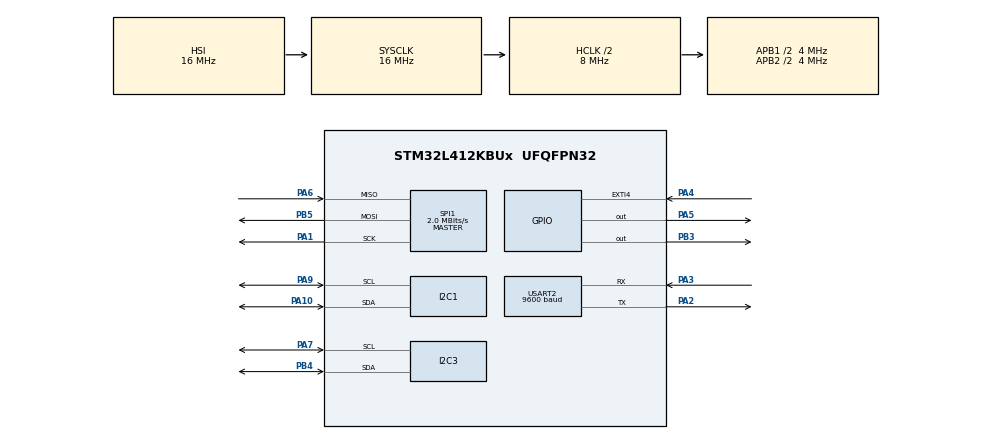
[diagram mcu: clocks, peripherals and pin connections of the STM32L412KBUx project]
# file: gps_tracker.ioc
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Dma.Request0=USART2_RX
Dma.Request1=USART2_TX
Dma.USART2_RX.0.Direction=DMA_PERIPH_TO_MEMORY
Dma.USART2_RX.0.Instance=DMA1_Channel6
Dma.USART2_RX.0.MemDataAlignment=DMA_MDATAALIGN_BYTE
Dma.USART2_RX.0.MemInc=DMA_MINC_ENABLE
Dma.USART2_RX.0.Mode=DMA_NORMAL
Dma.USART2_RX.0.PeriphDataAlignment=DMA_PDATAALIGN_BYTE
Dma.USART2_RX.0.PeriphInc=DMA_PINC_DISABLE
Dma.USART2_RX.0.Priority=DMA_PRIORITY_LOW
Dma.USART2_TX.1.Direction=DMA_MEMORY_TO_PERIPH
Dma.USART2_TX.1.Instance=DMA1_Channel7
Dma.USART2_TX.1.MemDataAlignment=DMA_MDATAALIGN_BYTE
Dma.USART2_TX.1.MemInc=DMA_MINC_ENABLE
Dma.USART2_TX.1.Mode=DMA_NORMAL
Dma.USART2_TX.1.PeriphDataAlignment=DMA_PDATAALIGN_BYTE
Dma.USART2_TX.1.PeriphInc=DMA_PINC_DISABLE
Dma.USART2_TX.1.Priority=DMA_PRIORITY_LOW
FATFS._MAX_SS=4096
FATFS._USE_LFN=1
Mcu.Family=STM32L4
Mcu.Name=STM32L412KBUx
Mcu.Package=UFQFPN32
NVIC.DMA1_Channel6_IRQn=true\:0\:0\:false\:false\:true\:false\:true\:true
NVIC.DMA1_Channel7_IRQn=true\:0\:0\:false\:false\:true\:false\:true\:true
NVIC.EXTI4_IRQn=true\:0\:0\:false\:false\:true\:true\:true\:true
NVIC.PriorityGroup=NVIC_PRIORITYGROUP_4
NVIC.TIM6_IRQn=true\:0\:0\:false\:false\:true\:true\:true\:true
NVIC.USART2_IRQn=true\:0\:0\:false\:false\:true\:true\:true\:true
PA1.Mode=Full_Duplex_Master
PA1.Signal=SPI1_SCK
PA10.Mode=I2C
PA10.Signal=I2C1_SDA
PA2.Mode=Asynchronous
PA2.Signal=USART2_TX
PA3.Mode=Asynchronous
PA3.Signal=USART2_RX
PA4.Signal=GPXTI4
PA5.Signal=GPIO_Output
PA6.Mode=Full_Duplex_Master
PA6.Signal=SPI1_MISO
PA7.Mode=I2C
PA7.Signal=I2C3_SCL
PA9.Mode=I2C
PA9.Signal=I2C1_SCL
PB3\ (JTDO/TRACESWO).Signal=GPIO_Output
PB4\ (NJTRST).Mode=I2C
PB4\ (NJTRST).Signal=I2C3_SDA
PB5.Mode=Full_Duplex_Master
PB5.Signal=SPI1_MOSI
ProjectManager.HeapSize=0x200
ProjectManager.StackSize=0x400
ProjectManager.TargetToolchain=STM32CubeIDE
RCC.ADCFreq_Value=16000000
RCC.AHBCLKDivider=RCC_SYSCLK_DIV2
RCC.AHBFreq_Value=8000000
RCC.APB1CLKDivider=RCC_HCLK_DIV2
RCC.APB1Freq_Value=4000000
RCC.APB1TimFreq_Value=8000000
RCC.APB2CLKDivider=RCC_HCLK_DIV2
RCC.APB2Freq_Value=4000000
RCC.APB2TimFreq_Value=8000000
RCC.CortexFreq_Value=8000000
RCC.HCLKFreq_Value=8000000
RCC.HSE_VALUE=8000000
RCC.HSI48_VALUE=48000000
RCC.HSI_VALUE=16000000
RCC.LSE_VALUE=32768
RCC.MSIAutoCalibration=DISABLED
RCC.MSIClockRange=RCC_MSIRANGE_10
RCC.MSI_VALUE=32000000
RCC.SYSCLKFreq_VALUE=16000000
RCC.SYSCLKSource=RCC_SYSCLKSOURCE_HSI
RCC.USBFreq_Value=32000000
RCC.VCOOutputFreq_Value=256000000
SPI1.CalculateBaudRate=2.0 MBits/s
SPI1.DataSize=SPI_DATASIZE_8BIT
SPI1.Direction=SPI_DIRECTION_2LINES
SPI1.Mode=SPI_MODE_MASTER
SPI1.VirtualType=VM_MASTER
TIM6.AutoReloadPreload=TIM_AUTORELOAD_PRELOAD_ENABLE
TIM6.Period=999
TIM6.Prescaler=799
USART2.BaudRate=9600
USART2.VirtualMode-Asynchronous=VM_ASYNC
VP_FATFS_VS_Generic.Mode=User_defined
VP_TIM6_VS_ClockSourceINT.Mode=Enable_Timer
board=NUCLEO-L412KB

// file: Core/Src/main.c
/* USER CODE BEGIN Header */
/**
  ******************************************************************************
  * @file           : main.c
  * @brief          : Main program body
  ******************************************************************************
  * @attention
  *
  * Copyright (c) 2023 STMicroelectronics.
  * All rights reserved.
  *
  * This software is licensed under terms that can be found in the LICENSE file
  * in the root directory of this software component.
  * If no LICENSE file comes with this software, it is provided AS-IS.
  *
  ******************************************************************************
  */
/* USER CODE END Header */
#include "main.h"
#include "fatfs.h"

/* USER CODE BEGIN Includes */
#include "neo7m_gps.h"
#include "hmc5883l.h"
#include <cJSON.h>
#include <mpu6050.h>
/* USER CODE END Includes */

/* USER CODE BEGIN PD */
#define NAME_SIZE 9
/* USER CODE END PD */

I2C_HandleTypeDef hi2c1;
I2C_HandleTypeDef hi2c3;

SPI_HandleTypeDef hspi1;

TIM_HandleTypeDef htim6;

UART_HandleTypeDef huart2;
DMA_HandleTypeDef hdma_usart2_rx;
DMA_HandleTypeDef hdma_usart2_tx;

/* USER CODE BEGIN PV */
FATFS fs;
FIL gps_file;
FIL imu_file;
FRESULT fres=FR_NOT_READY;
MPU6050_t mpu;
HMC5883L_t hmc;
uint8_t file_name_gps[NAME_SIZE];
uint8_t file_name_imu[NAME_SIZE];
uint8_t file_name_index=0u;
volatile uint8_t session_end=0u;
volatile uint8_t time_elapsed=0u;
volatile uint8_t time_counter=0u;
uint8_t imu_sampling_rate;
/* USER CODE END PV */

void SystemClock_Config(void);
static void MX_GPIO_Init(void);
static void MX_DMA_Init(void);
static void MX_SPI1_Init(void);
static void MX_I2C1_Init(void);
static void MX_USART2_UART_Init(void);
static void MX_I2C3_Init(void);
static void MX_TIM6_Init(void);

/* USER CODE BEGIN 0 */
void HAL_GPIO_EXTI_Callback(uint16_t GPIO_Pin)
{
	session_end=1;
}

/*
 * 10Hz
 * 10Hz/imu_sampling_rate = mpu and hmc sampling frequency
 */
void HAL_TIM_PeriodElapsedCallback(TIM_HandleTypeDef *htim)
{
	time_counter++;
	if(time_counter==imu_sampling_rate)
	{
		time_elapsed=1;
		time_counter=0;
	}
}

char* Convert_to_JSON()
{
	cJSON *json = cJSON_CreateObject();
	cJSON *measurement=cJSON_CreateObject();
	cJSON_AddItemToObject(json, "measurement", measurement);
	cJSON_AddNumberToObject(measurement, "gyro_x", mpu.rawData.gx);
	cJSON_AddNumberToObject(measurement, "gyro_y", mpu.rawData.gy);
	cJSON_AddNumberToObject(measurement, "gyro_z", mpu.rawData.gz);
	cJSON_AddNumberToObject(measurement, "acc_x", mpu.rawData.ax);
	cJSON_AddNumberToObject(measurement, "acc_y", mpu.rawData.ay);
	cJSON_AddNumberToObject(measurement, "acc_z", mpu.rawData.az);
	cJSON_AddNumberToObject(measurement, "mag_x", hmc.x_data);
	cJSON_AddNumberToObject(measurement, "mag_y", hmc.y_data);
	cJSON_AddNumberToObject(measurement, "mag_z", hmc.z_data);
	char *json_str=cJSON_Print(json);
	cJSON_Delete(json);
	return json_str;
}

char* JSON_Header()
{
	cJSON *json = cJSON_CreateObject();
	cJSON *config=cJSON_CreateObject();
	cJSON_AddItemToObject(json, "config", config);
	cJSON_AddNumberToObject(config, "gyro_range", mpu.config.gMaxRange);
	cJSON_AddNumberToObject(config, "acc_range", mpu.config.aMaxRange);
	cJSON_AddNumberToObject(config, "sample_rate", imu_sampling_rate);
	char *json_str=cJSON_Print(json);
	cJSON_Delete(json);
	return json_str;
}

//find available file name, if failed or last two available: LED on
FRESULT Find_file_name()
{
   if(file_name_index>7)
   {
	  HAL_GPIO_WritePin(GPIOB, GPIO_PIN_3, SET);
   }
   file_name_index++;
   if(file_name_index<10)
   {
	   snprintf(file_name_gps, NAME_SIZE, "gps%d.txt", file_name_index);
	   snprintf(file_name_imu, NAME_SIZE, "imu%d.txt", file_name_index);
	   f_mount(&fs, "", 0);
	   fres=f_open(&gps_file, file_name_gps, FA_CREATE_NEW | FA_WRITE);
	   if(fres!=FR_OK) return fres;
	   fres=f_open(&imu_file, file_name_imu, FA_CREATE_NEW | FA_WRITE);
	   if(fres!=FR_OK) return fres;
   }
  return fres;
}

/* USER CODE END 0 */

int main(void)
{

  /* MCU Configuration--------------------------------------------------------*/

  /* Reset of all peripherals, Initializes the Flash interface and the Systick. */
  HAL_Init();

  /* Configure the system clock */
  SystemClock_Config();

  /* Initialize all configured peripherals */
  MX_GPIO_Init();
  MX_DMA_Init();
  MX_SPI1_Init();
  MX_FATFS_Init();
  MX_I2C1_Init();
  MX_USART2_UART_Init();
  MX_I2C3_Init();
  MX_TIM6_Init();
  /* USER CODE BEGIN 2 */
  mpu.config.aRange=AFSR_4G; //500dps
  mpu.config.gRange=GFSR_500DPS; //max 4G
  hmc.mode=HMC_MODE_SINGLE;
  hmc.gain=HMC_GAIN_1090; //sensitivity, 0.92 mG/LSb
  imu_sampling_rate=5; //100ms*imu_sampling_rate=time between samples-->2

  HMC5883L_Init(&hi2c3, &hmc);
  MPU6050_Init(&hi2c1, &mpu);
  GPS_Init(&huart2, MEASUREMENT_RATE_100MS, DISABLE_MESSAGES);

  while(fres!=FR_OK)
  {
	  fres=Find_file_name();
  }
  char* json_str=JSON_Header();
  f_puts(json_str, &imu_file);
  cJSON_free(json_str);

  MPU6050_GetRawData(&hi2c1, &mpu);
  HMC5883L_ReadData(&hi2c3, &hmc);
  GPS_Receive(&huart2, &gps.gps_data,1);
  HAL_TIM_Base_Start_IT(&htim6);
  /* USER CODE END 2 */

  /* Infinite loop */
  /* USER CODE BEGIN WHILE */
  while (1)
  {
	  if(gps.rx_cplt)
	  {
		  f_putc(gps.gps_data, &gps_file);
		  gps.rx_cplt=0u;
		  GPS_Receive(&huart2, &gps.gps_data,1);
	  }
	  if(time_elapsed)
	  {
		  char *json_str=Convert_to_JSON();
		  f_puts(json_str, &imu_file);
		  cJSON_free(json_str);
		  MPU6050_GetRawData(&hi2c1, &mpu);
		  HMC5883L_ReadData(&hi2c3, &hmc);
		  time_elapsed=0;
	  }
	  if(session_end)
	  {
		  f_close(&gps_file);
		  f_close(&imu_file);
		  f_mount(NULL, "", 0);
		  fres=FR_NOT_READY;
		  session_end=0;
	  }
    /* USER CODE END WHILE */

  }
}

void SystemClock_Config(void)
{
  RCC_OscInitTypeDef RCC_OscInitStruct = {0};
  RCC_ClkInitTypeDef RCC_ClkInitStruct = {0};

  /** Configure the main internal regulator output voltage
  */
  if (HAL_PWREx_ControlVoltageScaling(PWR_REGULATOR_VOLTAGE_SCALE1) != HAL_OK)
  {
    Error_Handler();
  }

  /** Initializes the RCC Oscillators according to the specified parameters
  * in the RCC_OscInitTypeDef structure.
  */
  RCC_OscInitStruct.OscillatorType = RCC_OSCILLATORTYPE_HSI;
  RCC_OscInitStruct.HSIState = RCC_HSI_ON;
  RCC_OscInitStruct.HSICalibrationValue = RCC_HSICALIBRATION_DEFAULT;
  RCC_OscInitStruct.PLL.PLLState = RCC_PLL_NONE;
  if (HAL_RCC_OscConfig(&RCC_OscInitStruct) != HAL_OK)
  {
    Error_Handler();
  }

  /** Initializes the CPU, AHB and APB buses clocks
  */
  RCC_ClkInitStruct.ClockType = RCC_CLOCKTYPE_HCLK|RCC_CLOCKTYPE_SYSCLK
                              |RCC_CLOCKTYPE_PCLK1|RCC_CLOCKTYPE_PCLK2;
  RCC_ClkInitStruct.SYSCLKSource = RCC_SYSCLKSOURCE_HSI;
  RCC_ClkInitStruct.AHBCLKDivider = RCC_SYSCLK_DIV2;
  RCC_ClkInitStruct.APB1CLKDivider = RCC_HCLK_DIV2;
  RCC_ClkInitStruct.APB2CLKDivider = RCC_HCLK_DIV2;

  if (HAL_RCC_ClockConfig(&RCC_ClkInitStruct, FLASH_LATENCY_0) != HAL_OK)
  {
    Error_Handler();
  }
}

static void MX_I2C1_Init(void)
{

  hi2c1.Instance = I2C1;
  hi2c1.Init.Timing = 0x00000E14;
  hi2c1.Init.OwnAddress1 = 0;
  hi2c1.Init.AddressingMode = I2C_ADDRESSINGMODE_7BIT;
  hi2c1.Init.DualAddressMode = I2C_DUALADDRESS_DISABLE;
  hi2c1.Init.OwnAddress2 = 0;
  hi2c1.Init.OwnAddress2Masks = I2C_OA2_NOMASK;
  hi2c1.Init.GeneralCallMode = I2C_GENERALCALL_DISABLE;
  hi2c1.Init.NoStretchMode = I2C_NOSTRETCH_DISABLE;
  if (HAL_I2C_Init(&hi2c1) != HAL_OK)
  {
    Error_Handler();
  }

  /** Configure Analogue filter
  */
  if (HAL_I2CEx_ConfigAnalogFilter(&hi2c1, I2C_ANALOGFILTER_ENABLE) != HAL_OK)
  {
    Error_Handler();
  }

  /** Configure Digital filter
  */
  if (HAL_I2CEx_ConfigDigitalFilter(&hi2c1, 0) != HAL_OK)
  {
    Error_Handler();
  }

}

static void MX_I2C3_Init(void)
{

  hi2c3.Instance = I2C3;
  hi2c3.Init.Timing = 0x00000E14;
  hi2c3.Init.OwnAddress1 = 0;
  hi2c3.Init.AddressingMode = I2C_ADDRESSINGMODE_7BIT;
  hi2c3.Init.DualAddressMode = I2C_DUALADDRESS_DISABLE;
  hi2c3.Init.OwnAddress2 = 0;
  hi2c3.Init.OwnAddress2Masks = I2C_OA2_NOMASK;
  hi2c3.Init.GeneralCallMode = I2C_GENERALCALL_DISABLE;
  hi2c3.Init.NoStretchMode = I2C_NOSTRETCH_DISABLE;
  if (HAL_I2C_Init(&hi2c3) != HAL_OK)
  {
    Error_Handler();
  }

  /** Configure Analogue filter
  */
  if (HAL_I2CEx_ConfigAnalogFilter(&hi2c3, I2C_ANALOGFILTER_ENABLE) != HAL_OK)
  {
    Error_Handler();
  }

  /** Configure Digital filter
  */
  if (HAL_I2CEx_ConfigDigitalFilter(&hi2c3, 0) != HAL_OK)
  {
    Error_Handler();
  }

}

static void MX_SPI1_Init(void)
{

  /* SPI1 parameter configuration*/
  hspi1.Instance = SPI1;
  hspi1.Init.Mode = SPI_MODE_MASTER;
  hspi1.Init.Direction = SPI_DIRECTION_2LINES;
  hspi1.Init.DataSize = SPI_DATASIZE_8BIT;
  hspi1.Init.CLKPolarity = SPI_POLARITY_LOW;
  hspi1.Init.CLKPhase = SPI_PHASE_1EDGE;
  hspi1.Init.NSS = SPI_NSS_SOFT;
  hspi1.Init.BaudRatePrescaler = SPI_BAUDRATEPRESCALER_2;
  hspi1.Init.FirstBit = SPI_FIRSTBIT_MSB;
  hspi1.Init.TIMode = SPI_TIMODE_DISABLE;
  hspi1.Init.CRCCalculation = SPI_CRCCALCULATION_DISABLE;
  hspi1.Init.CRCPolynomial = 7;
  hspi1.Init.CRCLength = SPI_CRC_LENGTH_DATASIZE;
  hspi1.Init.NSSPMode = SPI_NSS_PULSE_ENABLE;
  if (HAL_SPI_Init(&hspi1) != HAL_OK)
  {
    Error_Handler();
  }

}

static void MX_TIM6_Init(void)
{

  TIM_MasterConfigTypeDef sMasterConfig = {0};

  htim6.Instance = TIM6;
  htim6.Init.Prescaler = 799;
  htim6.Init.CounterMode = TIM_COUNTERMODE_UP;
  htim6.Init.Period = 999;
  htim6.Init.AutoReloadPreload = TIM_AUTORELOAD_PRELOAD_ENABLE;
  if (HAL_TIM_Base_Init(&htim6) != HAL_OK)
  {
    Error_Handler();
  }
  sMasterConfig.MasterOutputTrigger = TIM_TRGO_RESET;
  sMasterConfig.MasterSlaveMode = TIM_MASTERSLAVEMODE_DISABLE;
  if (HAL_TIMEx_MasterConfigSynchronization(&htim6, &sMasterConfig) != HAL_OK)
  {
    Error_Handler();
  }

}

static void MX_USART2_UART_Init(void)
{

  huart2.Instance = USART2;
  huart2.Init.BaudRate = 9600;
  huart2.Init.WordLength = UART_WORDLENGTH_8B;
  huart2.Init.StopBits = UART_STOPBITS_1;
  huart2.Init.Parity = UART_PARITY_NONE;
  huart2.Init.Mode = UART_MODE_TX_RX;
  huart2.Init.HwFlowCtl = UART_HWCONTROL_NONE;
  huart2.Init.OverSampling = UART_OVERSAMPLING_16;
  huart2.Init.OneBitSampling = UART_ONE_BIT_SAMPLE_DISABLE;
  huart2.AdvancedInit.AdvFeatureInit = UART_ADVFEATURE_NO_INIT;
  if (HAL_UART_Init(&huart2) != HAL_OK)
  {
    Error_Handler();
  }

}

static void MX_DMA_Init(void)
{

  /* DMA controller clock enable */
  __HAL_RCC_DMA1_CLK_ENABLE();

  /* DMA interrupt init */
  /* DMA1_Channel6_IRQn interrupt configuration */
  HAL_NVIC_SetPriority(DMA1_Channel6_IRQn, 0, 0);
  HAL_NVIC_EnableIRQ(DMA1_Channel6_IRQn);
  /* DMA1_Channel7_IRQn interrupt configuration */
  HAL_NVIC_SetPriority(DMA1_Channel7_IRQn, 0, 0);
  HAL_NVIC_EnableIRQ(DMA1_Channel7_IRQn);

}

static void MX_GPIO_Init(void)
{
  GPIO_InitTypeDef GPIO_InitStruct = {0};

  /* GPIO Ports Clock Enable */
  __HAL_RCC_GPIOA_CLK_ENABLE();
  __HAL_RCC_GPIOB_CLK_ENABLE();

  /*Configure GPIO pin Output Level */
  HAL_GPIO_WritePin(GPIOA, GPIO_PIN_5, GPIO_PIN_RESET);

  /*Configure GPIO pin Output Level */
  HAL_GPIO_WritePin(GPIOB, GPIO_PIN_3, GPIO_PIN_RESET);

  /*Configure GPIO pin : PA4 */
  GPIO_InitStruct.Pin = GPIO_PIN_4;
  GPIO_InitStruct.Mode = GPIO_MODE_IT_RISING;
  GPIO_InitStruct.Pull = GPIO_NOPULL;
  HAL_GPIO_Init(GPIOA, &GPIO_InitStruct);

  /*Configure GPIO pin : PA5 */
  GPIO_InitStruct.Pin = GPIO_PIN_5;
  GPIO_InitStruct.Mode = GPIO_MODE_OUTPUT_PP;
  GPIO_InitStruct.Pull = GPIO_NOPULL;
  GPIO_InitStruct.Speed = GPIO_SPEED_FREQ_LOW;
  HAL_GPIO_Init(GPIOA, &GPIO_InitStruct);

  /*Configure GPIO pin : PB3 */
  GPIO_InitStruct.Pin = GPIO_PIN_3;
  GPIO_InitStruct.Mode = GPIO_MODE_OUTPUT_PP;
  GPIO_InitStruct.Pull = GPIO_NOPULL;
  GPIO_InitStruct.Speed = GPIO_SPEED_FREQ_LOW;
  HAL_GPIO_Init(GPIOB, &GPIO_InitStruct);

  /* EXTI interrupt init*/
  HAL_NVIC_SetPriority(EXTI4_IRQn, 0, 0);
  HAL_NVIC_EnableIRQ(EXTI4_IRQn);

}

void Error_Handler(void)
{
  __disable_irq();
  while (1)
  {
  }
}
